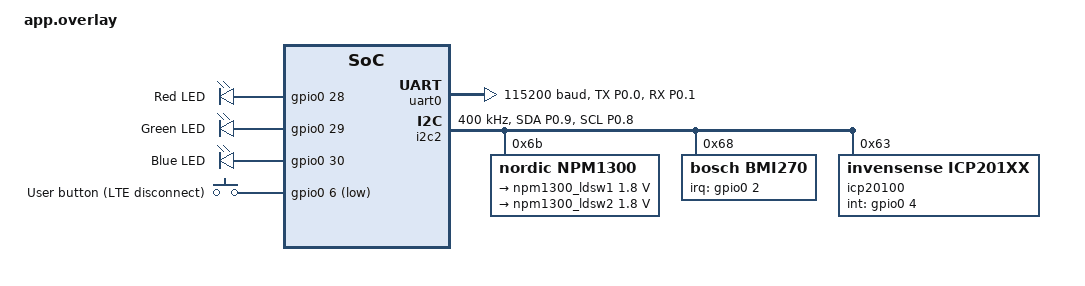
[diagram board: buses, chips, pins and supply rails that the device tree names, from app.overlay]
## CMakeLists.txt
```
cmake_minimum_required(VERSION 3.20.0)
find_package(Zephyr REQUIRED HINTS $ENV{ZEPHYR_BASE})
project(new_data_logger)

target_sources(app PRIVATE
    src/main.c
    src/bmi2_zephyr_platform.c
    bmi270_legacy_api/bmi2.c
    bmi270_legacy_api/bmi270_legacy.c
)

target_include_directories(app PRIVATE bmi270_legacy_api)
```

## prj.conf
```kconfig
# ==========================================================
# CONSOLE & LOGGING
# ==========================================================
CONFIG_SERIAL=y
CONFIG_CONSOLE=y
CONFIG_STDOUT_CONSOLE=y
CONFIG_LOG=y
CONFIG_PRINTK=y
CONFIG_LOG_BUFFER_SIZE=8192
CONFIG_LOG_PROCESS_THREAD_STACK_SIZE=4096

# Float formatting for printf and JSON payloads
CONFIG_CBPRINTF_FP_SUPPORT=y
CONFIG_PICOLIBC_IO_FLOAT=y

# ==========================================================
# HARDWARE & PMIC
# ==========================================================
CONFIG_I2C=y
CONFIG_GPIO=y
CONFIG_REGULATOR=y
CONFIG_MFD_NPM13XX=y
CONFIG_REGULATOR_NPM13XX=y
CONFIG_NPM13XX_CHARGER=y

# Math for sqrtf() in fall processing
CONFIG_FPU=y

# ==========================================================
# FLASH STORAGE (NVS on internal flash) -- OFFLINE LOGGING MODE
# Events are stored in the 'storage_partition' of the nRF9151's
# internal 1MB flash and dumped over UART on button press.
# ==========================================================
CONFIG_FLASH=y
CONFIG_FLASH_MAP=y
CONFIG_FLASH_PAGE_LAYOUT=y
CONFIG_NVS=y

# ==========================================================
# MODEM & LTE -- DISABLED FOR OFFLINE FLASH LOGGING
# Re-enable this whole block (and the matching #if 0 blocks in
# main.c) once the battery is attached and the power path can
# handle LTE TX bursts.
# ==========================================================
# CONFIG_NRF_MODEM_LIB=y
# CONFIG_LTE_LINK_CONTROL=y
# CONFIG_LTE_NETWORK_MODE_LTE_M=y
# CONFIG_LTE_PSM_REQ=n
# CONFIG_LTE_EDRX_REQ=n
# CONFIG_LTE_NETWORK_TIMEOUT=600
# CONFIG_LTE_LC_CONN_EVAL_MODULE=y
# CONFIG_MODEM_INFO=n
# CONFIG_LTE_LC_EDRX_MODULE=n

# Custom clock settings (No crystal, use RC)
CONFIG_CLOCK_CONTROL_NRF_K32SRC_XTAL=n
CONFIG_CLOCK_CONTROL_NRF_K32SRC_RC=y
CONFIG_CLOCK_CONTROL_NRF_K32SRC_500PPM=y

# ==========================================================
# NETWORKING & MQTT -- DISABLED FOR OFFLINE FLASH LOGGING
# ==========================================================
# CONFIG_NETWORKING=y
# CONFIG_NET_NATIVE=n
# CONFIG_NET_SOCKETS=y
# CONFIG_MQTT_HELPER=y
# CONFIG_NET_SOCKETS_OFFLOAD=y
# CONFIG_POSIX_API=y
# CONFIG_MQTT_CLEAN_SESSION=y
# CONFIG_MQTT_KEEPALIVE=1200

# ==========================================================
# MEMORY
# ==========================================================
CONFIG_MAIN_STACK_SIZE=32768
CONFIG_HEAP_MEM_POOL_SIZE=16384

# Keep fatal errors as halts (not reboots) while debugging power:
# with this =n, any spontaneous reboot you see IS a power event.
CONFIG_RESET_ON_FATAL_ERROR=n
CONFIG_LOG_MODE_IMMEDIATE=y

CONFIG_POLL=y
```

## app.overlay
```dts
#include <zephyr/dt-bindings/regulator/npm13xx.h>
#include <zephyr/dt-bindings/i2c/i2c.h>


&pinctrl {
    /* --- UART0 --- */
    uart0_default: uart0_default {
        group1 {
            psels = <NRF_PSEL(UART_TX, 0, 0)>,
                    <NRF_PSEL(UART_RX, 0, 1)>;
        };
    };
    uart0_sleep: uart0_sleep {
        group1 {
            psels = <NRF_PSEL(UART_TX, 0, 0)>,
                    <NRF_PSEL(UART_RX, 0, 1)>;
            low-power-enable;
        };
    };


    /* --- I2C2 --- */
    i2c2_default: i2c2_default {
        group1 {
            psels = <NRF_PSEL(TWIM_SDA, 0, 9)>,
                    <NRF_PSEL(TWIM_SCL, 0, 8)>;
        };
    };
    i2c2_sleep: i2c2_sleep {
        group1 {
            psels = <NRF_PSEL(TWIM_SDA, 0, 9)>,
                    <NRF_PSEL(TWIM_SCL, 0, 8)>;
            low-power-enable;
        };
    };
};



&uart0 {
    status = "okay";
    current-speed = <115200>;
    pinctrl-0 = <&uart0_default>;
    pinctrl-1 = <&uart0_sleep>;
    pinctrl-names = "default", "sleep";
};


&i2c2 {
    status = "okay";
    pinctrl-0 = <&i2c2_default>;
    pinctrl-1 = <&i2c2_sleep>;
    pinctrl-names = "default", "sleep";
    clock-frequency = <I2C_BITRATE_FAST>;
    zephyr,concat-buf-size = <2048>;
    zephyr,flash-buf-max-size = <2048>;


    npm1300: pmic@6b {
        compatible = "nordic,npm1300";
        reg = <0x6b>;
        status = "okay";


        npm1300_regulators: regulators {
            compatible = "nordic,npm1300-regulator";
            status = "okay";
        };


        npm1300_charger: charger {
            compatible = "nordic,npm1300-charger";
            status = "okay";
            vbus-limit-microamp = <1300000>;
            term-microvolt = <4200000>;
            current-microamp = <150000>;
            dischg-limit-microamp = <1000000>;
            thermistor-ohms = <10000>;
            thermistor-beta = <3380>;
        };
    };



    /* Bosch BMI270 IMU */
    bmi270: bmi270@68 {
        compatible = "bosch,bmi270";
        reg = <0x68>;
        irq-gpios = <&gpio0 2 (GPIO_ACTIVE_HIGH | GPIO_PULL_DOWN)>;
    };


    /* TDK Barometer */
    icp20100: icp20100@63 {
        compatible = "invensense,icp201xx";
        reg = <0x63>;
        int-gpios = <&gpio0 4 GPIO_ACTIVE_HIGH>;
    };


};



&npm1300_regulators {
    npm1300_ldsw1: LDO1 {
        status = "okay";
        /* Fixed: Lowered to 1.8V to match nRF9151 GPIO logic levels */
        regulator-min-microvolt = <1800000>;
        regulator-max-microvolt = <1800000>;
        regulator-initial-mode = <NPM13XX_LDSW_MODE_LDSW>;
        active-discharge;
        regulator-boot-on;
        regulator-always-on;
    };


    npm1300_ldsw2: LDO2 {
        status = "okay";
        /* Fixed: Lowered to 1.8V to match nRF9151 GPIO logic levels */
        regulator-min-microvolt = <1800000>;
        regulator-max-microvolt = <1800000>;
        regulator-initial-mode = <NPM13XX_LDSW_MODE_LDSW>;
        active-discharge;
        regulator-boot-on;
        regulator-always-on;
    };
};


/* =====================================================================
 * NEW: USER BUTTON (P0.06) + RGB LED (P0.28 R / P0.29 G / P0.30 B)
 * ===================================================================== */
/ {
    leds {
        compatible = "gpio-leds";

        /* NOTE: assumed active-high (GPIO sources current into the LED).
         * If your RGB LED is common-anode (GPIO sinks current),
         * change GPIO_ACTIVE_HIGH to GPIO_ACTIVE_LOW on all three. */
        led_red: led_0 {
            gpios = <&gpio0 28 GPIO_ACTIVE_HIGH>;
            label = "Red LED";
        };
        led_green: led_1 {
            gpios = <&gpio0 29 GPIO_ACTIVE_HIGH>;
            label = "Green LED";
        };
        led_blue: led_2 {
            gpios = <&gpio0 30 GPIO_ACTIVE_HIGH>;
            label = "Blue LED";
        };
    };

    buttons {
        compatible = "gpio-keys";

        /* NOTE: assumed button shorts P0.06 to GND when pressed,
         * using the internal pull-up. If your button pulls the pin
         * to VDD instead, use (GPIO_PULL_DOWN | GPIO_ACTIVE_HIGH). */
        button0: button_0 {
            gpios = <&gpio0 6 (GPIO_PULL_UP | GPIO_ACTIVE_LOW)>;
            label = "User button (LTE disconnect)";
        };
    };

    aliases {
        led-red = &led_red;
        led-green = &led_green;
        led-blue = &led_blue;
        sw0 = &button0;
    };
};
```

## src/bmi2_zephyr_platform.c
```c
#include <zephyr/kernel.h>
#include <zephyr/drivers/i2c.h>
#include "bmi2_defs.h"

/* Defined in main.c */
extern const struct i2c_dt_spec bmi_i2c;

BMI2_INTF_RETURN_TYPE bmi2_i2c_read(uint8_t reg_addr, uint8_t *data,
                                    uint32_t len, void *intf_ptr)
{
    ARG_UNUSED(intf_ptr);
    return i2c_burst_read_dt(&bmi_i2c, reg_addr, data, len);
}

BMI2_INTF_RETURN_TYPE bmi2_i2c_write(uint8_t reg_addr, const uint8_t *data,
                                     uint32_t len, void *intf_ptr)
{
    ARG_UNUSED(intf_ptr);
    return i2c_burst_write_dt(&bmi_i2c, reg_addr, (uint8_t *)data, len);
}

void bmi2_delay_us(uint32_t period, void *intf_ptr)
{
    ARG_UNUSED(intf_ptr);
    k_busy_wait(period);
}
```
